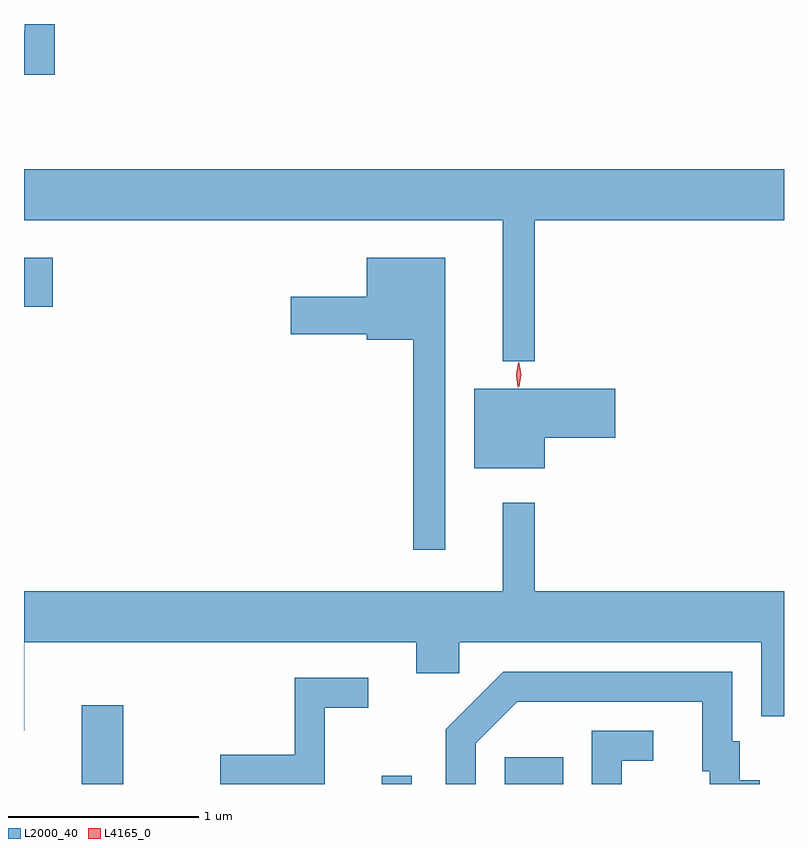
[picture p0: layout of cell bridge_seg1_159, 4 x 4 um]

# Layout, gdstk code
import gdstk
lib = gdstk.Library(unit=1e-6, precision=1e-09)
def R(c, l, rs):  # rectangles x0, y0, x1, y1
    for r in rs: c.add(gdstk.rectangle(r[:2], r[2:], *l))
def P(c, l, *ps):  # polygons
    for p in ps: c.add(gdstk.Polygon(p, *l))
L2000_40 = (2000, 40)
L4165_0 = (4165, 0)

bridge_seg1_159 = lib.new_cell('bridge_seg1_159')
R(bridge_seg1_159, L2000_40, [(686.656,934.349,686.874,934.764), (688.236,934.349,688.394,934.393), (688.881,934.349,689.189,934.489), (686.352,936.861,686.504,937.119)])
P(bridge_seg1_159, L2000_40, [(686.514,938.349),(686.356,938.349),(686.356,938.314),(686.352,938.314),(686.352,938.081),(686.514,938.081)],
  [(689.039,937.316),(690.352,937.316),(690.352,937.584),(686.352,937.584),(686.352,937.316),(688.871,937.316),(688.871,936.573),(689.039,936.573)],
  [(688.569,937.119),(688.156,937.119),(688.156,936.914),(687.756,936.914),(687.756,936.716),(688.156,936.716),(688.156,936.686),(688.401,936.686),(688.401,935.583),(688.569,935.583)],
  [(689.094,936.171),(689.464,936.171),(689.464,936.429),(688.721,936.429),(688.721,936.011),(689.094,936.011)],
  [(686.354,935.096),(688.416,935.096),(688.416,934.931),(688.644,934.931),(688.644,935.096),(690.231,935.096),(690.231,934.706),(690.352,934.706),(690.352,935.364),(689.039,935.364),(689.039,935.828),(688.871,935.828),(688.871,935.364),(686.352,935.364),(686.352,934.628),(686.354,934.628)],
  [(688.729,934.564),(688.947,934.781),(689.921,934.781),(689.921,934.416),(689.961,934.416),(689.961,934.349),(690.224,934.349),(690.224,934.369),(690.119,934.369),(690.119,934.574),(690.079,934.574),(690.079,934.939),(688.874,934.939),(688.571,934.637),(688.571,934.349),(688.729,934.349)],
  [(687.934,934.751),(688.163,934.751),(688.163,934.909),(687.776,934.909),(687.776,934.504),(687.386,934.504),(687.386,934.349),(687.934,934.349)],
  [(689.499,934.471),(689.663,934.471),(689.663,934.629),(689.341,934.629),(689.341,934.349),(689.499,934.349)])
P(bridge_seg1_159, L4165_0, [(688.95,936.434),(688.942,936.502),(688.952,936.57),(688.952,936.57),(688.953,936.57),(688.962,936.502),(688.951,936.434),(688.951,936.434)],
  [(688.957,936.44),(688.948,936.503),(688.957,936.566),(688.958,936.567),(688.958,936.566),(688.968,936.503),(688.958,936.44),(688.958,936.44)])

lib.write_gds('bridge_seg1_159.gds')
